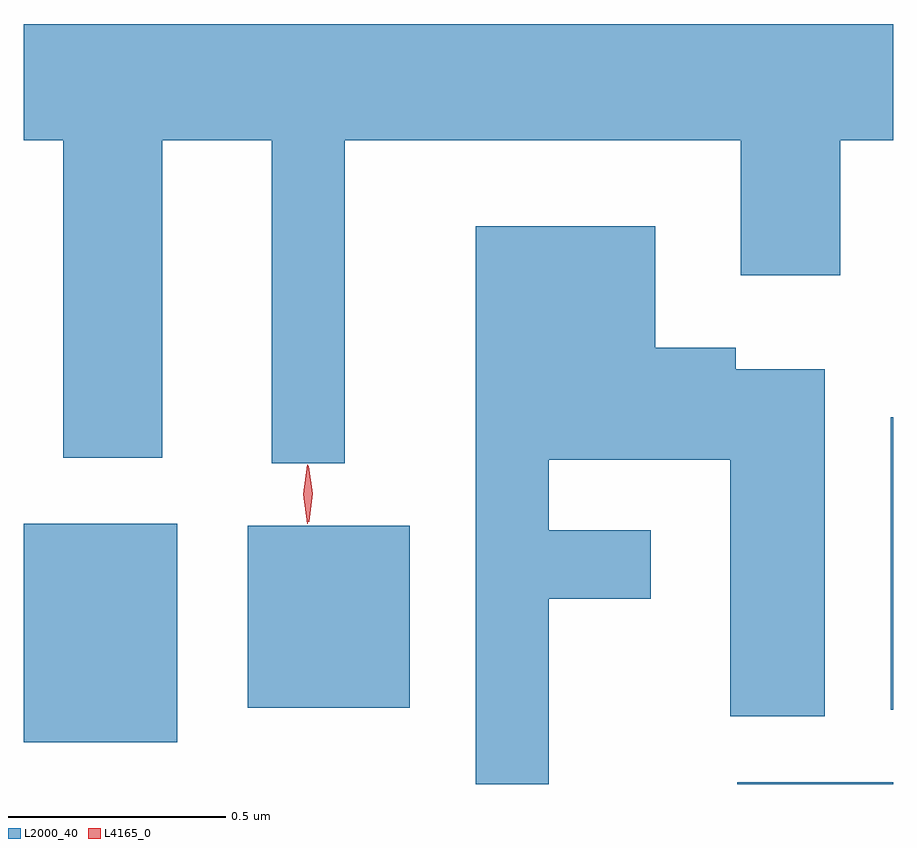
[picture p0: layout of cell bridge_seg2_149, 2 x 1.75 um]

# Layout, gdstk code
import gdstk
lib = gdstk.Library(unit=1e-6, precision=1e-09)
def R(c, l, rs):  # rectangles x0, y0, x1, y1
    for r in rs: c.add(gdstk.rectangle(r[:2], r[2:], *l))
def P(c, l, *ps):  # polygons
    for p in ps: c.add(gdstk.Polygon(p, *l))
L2000_40 = (2000, 40)
L4165_0 = (4165, 0)

bridge_seg2_149 = lib.new_cell('bridge_seg2_149')
R(bridge_seg2_149, L2000_40, [(1078.523,1086.795,1078.881,1086.799), (1076.881,1086.891,1077.234,1087.394), (1078.876,1086.966,1078.881,1087.639), (1077.396,1086.971,1077.769,1087.389)])
P(bridge_seg2_149, L2000_40, [(1077.619,1088.276),(1078.531,1088.276),(1078.531,1087.966),(1078.759,1087.966),(1078.759,1088.276),(1078.881,1088.276),(1078.881,1088.544),(1076.881,1088.544),(1076.881,1088.276),(1076.971,1088.276),(1076.971,1087.546),(1077.199,1087.546),(1077.199,1088.276),(1077.451,1088.276),(1077.451,1087.533),(1077.619,1087.533)],
  [(1078.089,1087.221),(1078.323,1087.221),(1078.323,1087.379),(1078.089,1087.379),(1078.089,1087.541),(1078.506,1087.541),(1078.506,1086.951),(1078.724,1086.951),(1078.724,1087.749),(1078.519,1087.749),(1078.519,1087.799),(1078.334,1087.799),(1078.334,1088.079),(1077.921,1088.079),(1077.921,1086.795),(1078.089,1086.795)])
P(bridge_seg2_149, L4165_0, [(1077.533,1087.394),(1077.533,1087.394),(1077.524,1087.462),(1077.533,1087.53),(1077.533,1087.53),(1077.534,1087.53),(1077.543,1087.462),(1077.534,1087.394)],
  [(1077.536,1087.398),(1077.536,1087.399),(1077.526,1087.462),(1077.535,1087.526),(1077.535,1087.527),(1077.536,1087.526),(1077.546,1087.463),(1077.537,1087.399)])

lib.write_gds('bridge_seg2_149.gds')
